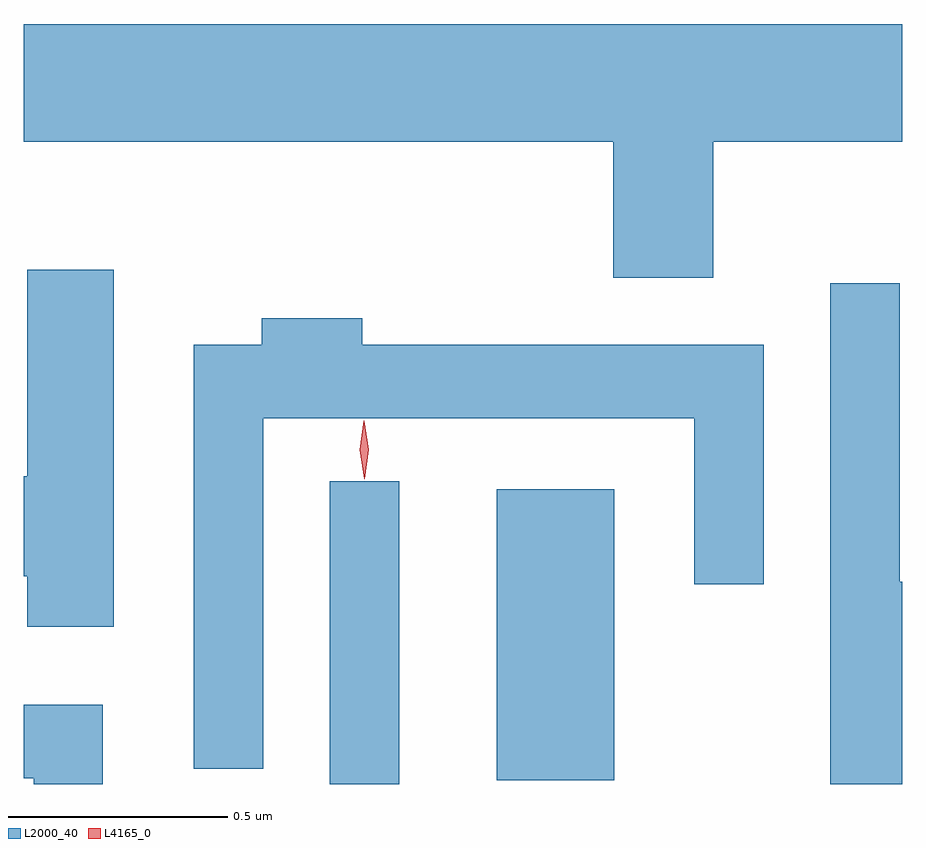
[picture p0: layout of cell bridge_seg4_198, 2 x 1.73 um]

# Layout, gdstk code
import gdstk
lib = gdstk.Library(unit=1e-6, precision=1e-09)
def R(c, l, rs):  # rectangles x0, y0, x1, y1
    for r in rs: c.add(gdstk.rectangle(r[:2], r[2:], *l))
def P(c, l, *ps):  # polygons
    for p in ps: c.add(gdstk.Polygon(p, *l))
L2000_40 = (2000, 40)
L4165_0 = (4165, 0)

bridge_seg4_198 = lib.new_cell('bridge_seg4_198')
R(bridge_seg4_198, L2000_40, [(980.036,1319.913,980.194,1320.603), (980.416,1319.921,980.684,1320.584)])
P(bridge_seg4_198, L2000_40, [(980.909,1321.376),(981.339,1321.376),(981.339,1321.644),(979.339,1321.644),(979.339,1321.376),(980.681,1321.376),(980.681,1321.066),(980.909,1321.066)],
  [(979.544,1321.084),(979.346,1321.084),(979.346,1320.614),(979.339,1320.614),(979.339,1320.386),(979.346,1320.386),(979.346,1320.271),(979.544,1320.271)],
  [(981.339,1320.374),(981.334,1320.374),(981.334,1321.053),(981.176,1321.053),(981.176,1319.913),(981.339,1319.913)],
  [(979.884,1320.746),(980.866,1320.746),(980.866,1320.368),(981.024,1320.368),(981.024,1320.914),(980.109,1320.914),(980.109,1320.974),(979.881,1320.974),(979.881,1320.914),(979.726,1320.914),(979.726,1319.948),(979.884,1319.948)],
  [(979.519,1320.094),(979.339,1320.094),(979.339,1319.926),(979.361,1319.926),(979.361,1319.913),(979.519,1319.913)])
P(bridge_seg4_198, L4165_0, [(980.114,1320.607),(980.114,1320.608),(980.104,1320.674),(980.113,1320.74),(980.114,1320.74),(980.114,1320.74),(980.124,1320.674),(980.115,1320.608)])

lib.write_gds('bridge_seg4_198.gds')
